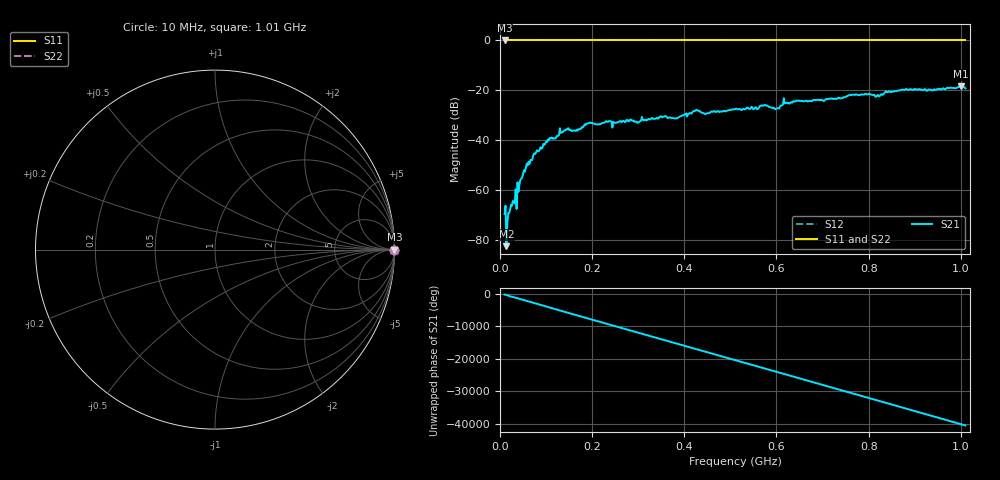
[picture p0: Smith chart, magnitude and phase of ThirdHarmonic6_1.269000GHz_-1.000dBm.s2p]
! 8/16/2025 1:43:03 PM
! C:\ANRITSUVNA\TEMP\TEMP.S2P
! CHANNEL.1
! TR.MEASUREMENT
! RAW.DATA
! RF.CORRECTION.OFF
! AVERAGING.OFF
! IF.BANDWIDTH: 5KHZ
! SWEEPTYPE:  FREQ.SWEEP(Linear)
! Reference Plane Port Info
! PORT:  PORT1  PORT2
! DISTANCE:  0  m  0  m
! TIME:  0  s  0  s
! PHASE.OFFSET:  0  deg.  0  deg.
! LOSS:  0  dB  0  dB
! REF.LOSS:  0  dB  0  dB
! REF.FREQ:  0  Hz  0  Hz
! Power Info
! POWER:  -20  dBm  -20  dBm
! EFF.POWER:  -20  dBm  -20  dBm
! SOURCE.ATTEN:  0  dB  0  dB
! TEST.ATTEN:  0  dB  0  dB
# GHZ S RI R 50.0
! FREQ.GHZ  S11RE  S11IM  S21RE  S21IM  S12RE  S12IM  S22RE  S22IM
!; PortSelection: Port_12
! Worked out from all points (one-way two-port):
!   501 points, 10 MHz to 1.01 GHz, reference 50 ohm
!   highest |S21| = -18.46 dB at 1 GHz (marker M1); lowest = -82.6 dB at 14 MHz (marker M2)
!   lowest |S11| = 0.0 dB at 10 MHz (marker M3)
!   |S11| at or under -10 dB: nowhere
!   |S22| runs from 0.0 to 0.0 dB; largest |S21 - S12| = 1.1
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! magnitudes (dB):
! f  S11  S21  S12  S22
! 10 MHz  0.0  -69.7  0.0  0.0
! 14 MHz  0.0  -82.6  0.0  0.0
! 18 MHz  0.0  -69.3  0.0  0.0
! 22 MHz  0.0  -67.9  0.0  0.0
! 32 MHz  0.0  -65.4  0.0  0.0
! 42 MHz  0.0  -58.0  0.0  0.0
! 54 MHz  0.0  -52.7  0.0  0.0
! 76 MHz  0.0  -45.6  0.0  0.0
! 134 MHz  0.0  -36.9  0.0  0.0
! 178 MHz  0.0  -34.8  0.0  0.0
! 196 MHz  0.0  -32.9  0.0  0.0
! 344 MHz  0.0  -31.3  0.0  0.0
! 510 MHz  0.0  -27.5  0.0  0.0
! 572 MHz  0.0  -26.2  0.0  0.0
! 602 MHz  0.0  -27.2  0.0  0.0
! 620 MHz  0.0  -25.1  0.0  0.0
! 678 MHz  0.0  -24.1  0.0  0.0
! 762 MHz  0.0  -21.9  0.0  0.0
! 820 MHz  0.0  -21.8  0.0  0.0
! 844 MHz  0.0  -20.4  0.0  0.0
! 1 GHz  0.0  -18.5  0.0  0.0
! 1.01 GHz  0.0  -19.2  0.0  0.0
